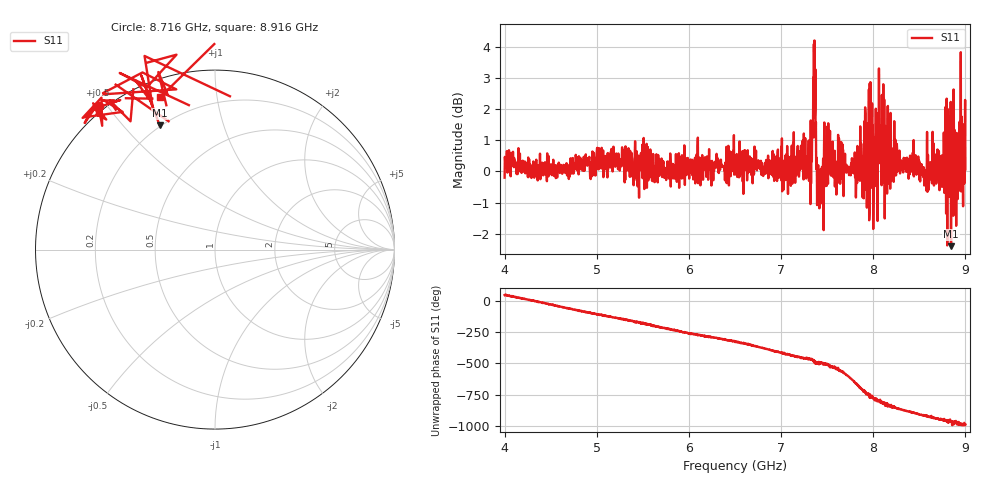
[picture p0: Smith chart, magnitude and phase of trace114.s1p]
! Created with skrf 1.8.0 (http://scikit-rf.org).
# Hz S RI R 50.0
!freq ReS11 ImS11
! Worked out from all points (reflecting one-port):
!   1601 points, 4 GHz to 9 GHz, reference 50 ohm
!   lowest |S11| = -2.4 dB at 8.844 GHz (marker M1), VSWR 7.28, Z = 9.68 + j31.6 ohm
!   phase of S11 starts at 50 deg and turns -1041 deg over the sweep
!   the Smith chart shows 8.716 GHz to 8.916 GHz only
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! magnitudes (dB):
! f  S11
! 4 GHz  -0.2
! 4.625 GHz  -0.1
! 5.25 GHz  0.0
! 5.875 GHz  0.1
! 6.5 GHz  0.1
! 7.125 GHz  0.3
! 7.294 GHz  0.4
! 7.322 GHz  1.6
! 7.353 GHz  2.2
! 7.375 GHz  1.1
! 7.4 GHz  0.1
! 7.416 GHz  -1.2
! 7.538 GHz  0.5
! 7.591 GHz  0.1
! 7.644 GHz  0.9
! 7.75 GHz  0.1
! 7.909 GHz  0.4
! 7.962 GHz  2.8
! 7.981 GHz  -0.5
! 8.025 GHz  0.6
! 8.088 GHz  0.1
! 8.147 GHz  0.5
! 8.375 GHz  0.2
! 8.578 GHz  -0.6
! 8.816 GHz  -0.7
! 8.844 GHz  -2.4
! 8.972 GHz  0.2
! 9 GHz  0.1
